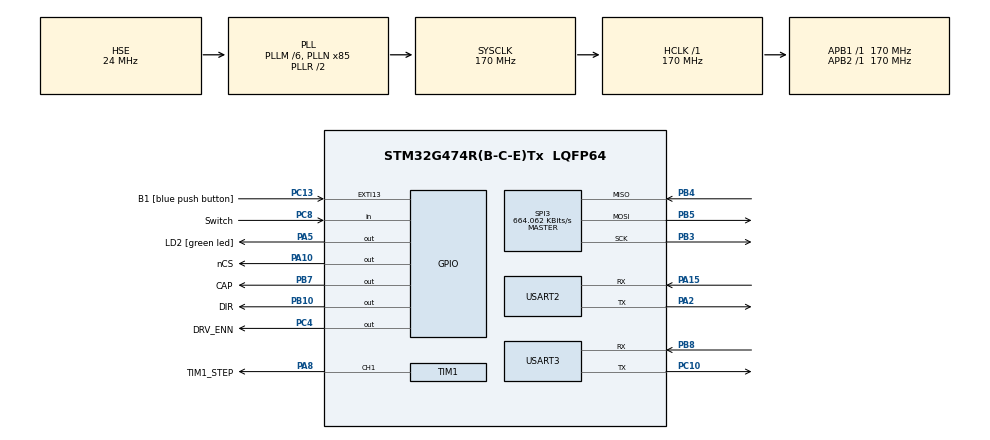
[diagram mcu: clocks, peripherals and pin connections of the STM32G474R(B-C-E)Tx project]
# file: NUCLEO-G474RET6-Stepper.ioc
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Mcu.Family=STM32G4
Mcu.Name=STM32G474R(B-C-E)Tx
Mcu.Package=LQFP64
NVIC.EXTI15_10_IRQn=true\:0\:0\:false\:false\:true\:true\:true\:true
NVIC.PriorityGroup=NVIC_PRIORITYGROUP_4
NVIC.TIM2_IRQn=true\:0\:0\:false\:false\:true\:true\:true\:true
PA10.GPIO_Label=nCS
PA10.Signal=GPIO_Output
PA13.GPIO_Label=T_SWDIO
PA13.Mode=Serial_Wire
PA13.Signal=SYS_JTMS-SWDIO
PA14.GPIO_Label=T_SWCLK
PA14.Mode=Serial_Wire
PA14.Signal=SYS_JTCK-SWCLK
PA15.Mode=Asynchronous
PA15.Signal=USART2_RX
PA2.Mode=Asynchronous
PA2.Signal=USART2_TX
PA5.GPIO_Label=LD2 [green led]
PA5.Signal=GPIO_Output
PA8.GPIO_Label=TIM1_STEP
PA8.Signal=S_TIM1_CH1
PB10.GPIO_Label=DIR
PB10.Signal=GPIO_Output
PB3.GPIO_Speed=GPIO_SPEED_FREQ_VERY_HIGH
PB3.Mode=Full_Duplex_Master
PB3.Signal=SPI3_SCK
PB4.GPIO_Speed=GPIO_SPEED_FREQ_VERY_HIGH
PB4.Mode=Full_Duplex_Master
PB4.Signal=SPI3_MISO
PB5.GPIO_Speed=GPIO_SPEED_FREQ_HIGH
PB5.Mode=Full_Duplex_Master
PB5.Signal=SPI3_MOSI
PB7.GPIO_FM7=SYSCFG_FASTMODEPLUS_PB7
PB7.GPIO_Label=CAP
PB7.GPIO_PuPd=GPIO_PULLDOWN
PB7.Signal=GPIO_Output
PB8-BOOT0.Mode=Asynchronous
PB8-BOOT0.Signal=USART3_RX
PC10.Mode=Asynchronous
PC10.Signal=USART3_TX
PC13.GPIO_Label=B1 [blue push button]
PC13.Signal=GPXTI13
PC14-OSC32_IN.Mode=LSE-External-Oscillator
PC14-OSC32_IN.Signal=RCC_OSC32_IN
PC15-OSC32_OUT.Mode=LSE-External-Oscillator
PC15-OSC32_OUT.Signal=RCC_OSC32_OUT
PC4.GPIO_Label=DRV_ENN
PC4.Signal=GPIO_Output
PC8.GPIO_Label=Switch
PC8.Signal=GPIO_Input
PF0-OSC_IN.Mode=HSE-External-Oscillator
PF0-OSC_IN.Signal=RCC_OSC_IN
PF1-OSC_OUT.Mode=HSE-External-Oscillator
PF1-OSC_OUT.Signal=RCC_OSC_OUT
ProjectManager.HeapSize=0x200
ProjectManager.StackSize=0x400
ProjectManager.TargetToolchain=STM32CubeIDE
RCC.ADC12Freq_Value=170000000
RCC.ADC345Freq_Value=170000000
RCC.AHBFreq_Value=170000000
RCC.APB1Freq_Value=170000000
RCC.APB1TimFreq_Value=170000000
RCC.APB2Freq_Value=170000000
RCC.APB2TimFreq_Value=170000000
RCC.CortexFreq_Value=170000000
RCC.EXTERNAL_CLOCK_VALUE=12288000
RCC.HCLKFreq_Value=170000000
RCC.HSE_VALUE=24000000
RCC.HSI48_VALUE=48000000
RCC.HSI_VALUE=16000000
RCC.PLLM=RCC_PLLM_DIV6
RCC.PLLN=85
RCC.PLLSourceVirtual=RCC_PLLSOURCE_HSE
RCC.RTCClockSelection=RCC_RTCCLKSOURCE_LSE
RCC.SYSCLKFreq_VALUE=170000000
RCC.SYSCLKSource=RCC_SYSCLKSOURCE_PLLCLK
RCC.USBFreq_Value=170000000
RCC.VCOOutputFreq_Value=340000000
SH.S_TIM1_CH1.0=TIM1_CH1,PWM Generation1 CH1
SPI3.BaudRatePrescaler=SPI_BAUDRATEPRESCALER_256
SPI3.CLKPhase=SPI_PHASE_1EDGE
SPI3.CLKPolarity=SPI_POLARITY_LOW
SPI3.CalculateBaudRate=664.062 KBits/s
SPI3.DataSize=SPI_DATASIZE_8BIT
SPI3.Direction=SPI_DIRECTION_2LINES
SPI3.Mode=SPI_MODE_MASTER
SPI3.VirtualType=VM_MASTER
TIM1.Channel-PWM\ Generation1\ CH1=TIM_CHANNEL_1
TIM1.PeriodNoDither=500
TIM1.Prescaler=17000
TIM1.PulseNoDither_1=500
TIM2.PeriodNoDither=20
TIM2.Prescaler=170
USART2.VirtualMode-Asynchronous=VM_ASYNC
USART3.VirtualMode-Asynchronous=VM_ASYNC
VP_SYS_VS_DBSignals.Mode=DisableDeadBatterySignals
VP_TIM2_VS_ClockSourceINT.Mode=Internal
board=NUCLEO-G474RE

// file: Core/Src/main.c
/* USER CODE BEGIN Header */
/**
 ******************************************************************************
 * @file           : main.c
 * @brief          : Main program body
 ******************************************************************************
 * @attention
 *
 * Copyright (c) 2023 STMicroelectronics.
 * All rights reserved.
 *
 * This software is licensed under terms that can be found in the LICENSE file
 * in the root directory of this software component.
 * If no LICENSE file comes with this software, it is provided AS-IS.
 *
 ******************************************************************************
 */
/* USER CODE END Header */
#include "main.h"
#include "spi.h"
#include "tim.h"
#include "usart.h"
#include "gpio.h"

/* USER CODE BEGIN Includes */
#include "tmc2590.h"
#include "stepper.h"

#define ADC_CHANNEL_ADC1_IN10   ADC_CHANNEL_10
/* USER CODE END Includes */

void SystemClock_Config(void);

int main(void)
{

  /* MCU Configuration--------------------------------------------------------*/

  /* Reset of all peripherals, Initializes the Flash interface and the Systick. */
  HAL_Init();

  /* USER CODE BEGIN Init */
  Stepper stepper1;

  /* USER CODE END Init */

  /* Configure the system clock */
  SystemClock_Config();

  /* USER CODE BEGIN SysInit */

  int position_angular_1;
  char message[20];

  /* USER CODE END SysInit */

  /* Initialize all configured peripherals */
  MX_GPIO_Init();
  MX_TIM1_Init();
  MX_SPI3_Init();
  MX_TIM2_Init();
  MX_USART2_UART_Init();
  MX_USART3_UART_Init();
  /* USER CODE BEGIN 2 */

	/*HAL_UART_Transmit(&huart3, (uint8_t *)"*********************\r\n", 23, 100);
	HAL_UART_Transmit(&huart3, (uint8_t *)"* TMC2590 Test Code *\r\n", 23, 100);
	HAL_UART_Transmit(&huart3, (uint8_t *)"*********************\r\n", 23, 100);
	 */

  int order = 20;
  tmc2590_Init(&htmc2590, &hspi3, nCS_GPIO_Port, nCS_Pin, DRV_ENN_GPIO_Port, DRV_ENN_Pin);

  	//HAL_UART_Transmit(&huart3,"debut\r\n", strlen("debut\r\n"), HAL_MAX_DELAY);

  	//fonction d'init

  	stepper_Init(&stepper1);
  	HAL_Delay(1000);
  	stepper1.angularPositionMax = 180;

  /* USER CODE END 2 */

  /* Infinite loop */
  /* USER CODE BEGIN WHILE */

  	while (1)
  	{

  		// Add code to choose nCS

  		//tmc2590_dumpRegister(&htmc2590);  //Report doesn't work - Fail to turn if ON

  		 //code for stepper that advances 90 degrees (works)

  		sendOrderStepper(order,&stepper1);
  		HAL_Delay(1000);
  		stepper1.angularPosition += order;

  		HAL_UART_Transmit(&huart2, (uint8_t *)"test 2\r\n", strlen("test 2\r\n"), HAL_MAX_DELAY);

  		//voir la position

		position_angular_1 = stepper1.angularPosition;
		sprintf(message, "%d \r\n", position_angular_1);
		HAL_UART_Transmit(&huart2, (uint8_t *)message ,strlen(message) , HAL_MAX_DELAY);
		HAL_Delay(1000);

		//tmc_2590_Select(int number_motor);

		/*if(index_sin_loop < 256){
			currentCoilA = sinTable[index_sin_loop];
			currentCoilB = sinTable[256-index_sin_loop];
			polarityCoilA = 0;
			polarityCoilB = 1;
		}
		else if(index_sin_loop < 512){
			currentCoilA = sinTable[512-index_sin_loop];
			currentCoilB = sinTable[index_sin_loop-256];
			polarityCoilA = 0;
			polarityCoilB = 0;
		}
		else if(index_sin_loop < 768){
			currentCoilA = sinTable[index_sin_loop-512];
			currentCoilB = sinTable[768-index_sin_loop];
			polarityCoilA = 1;
			polarityCoilB = 0;
		}
		else{
			currentCoilA = sinTable[1024-index_sin_loop];
			currentCoilB = sinTable[index_sin_loop-768];
			polarityCoilA = 1;
			polarityCoilB = 1;
		}

		drvCtrlCommand = (polarityCoilA << 17) | (currentCoilA << 9) | (polarityCoilB << 8) | (currentCoilB << 0);
		tmc2590_SetTxBufferInt32(&htmc2590, drvCtrlCommand);
		tmc2590_TransmitReceive(&htmc2590, TMC2590_CMD_SIZE); */
		//tmc2590_PrintReport(&htmc2590);

		//		tmc2590_SetTxBuffer(&htmc2590, pData, TMC2590_CMD_SIZE);
		//		tmc2590_TransmitReceive(&htmc2590, TMC2590_CMD_SIZE);
		//		tmc2590_PrintReport(&htmc2590);

		//		tmc2590_dumpRegister(&htmc2590);
		//		0x3FE00;
		//		0x001FF;
		//		0x1FE00;
		//		0x000FF;

		//		tmc2590_SetTxBufferInt32(&htmc2590, 0x3FE00);
		//		tmc2590_TransmitReceive(&htmc2590, TMC2590_CMD_SIZE);
		//		HAL_Delay(1);
		//		tmc2590_SetTxBufferInt32(&htmc2590, 0x001FF);
		//		tmc2590_TransmitReceive(&htmc2590, TMC2590_CMD_SIZE);
		//		HAL_Delay(1);
		//		tmc2590_SetTxBufferInt32(&htmc2590, 0x1FE00);
		//		tmc2590_TransmitReceive(&htmc2590, TMC2590_CMD_SIZE);
		//		HAL_Delay(1);
		//		tmc2590_SetTxBufferInt32(&htmc2590, 0x000FF);
		//		tmc2590_TransmitReceive(&htmc2590, TMC2590_CMD_SIZE);
		//		HAL_Delay(1);

		//		HAL_Delay(100);
    /* USER CODE END WHILE */

	}
}

void SystemClock_Config(void)
{
  RCC_OscInitTypeDef RCC_OscInitStruct = {0};
  RCC_ClkInitTypeDef RCC_ClkInitStruct = {0};

  /** Configure the main internal regulator output voltage
  */
  HAL_PWREx_ControlVoltageScaling(PWR_REGULATOR_VOLTAGE_SCALE1_BOOST);

  /** Initializes the RCC Oscillators according to the specified parameters
  * in the RCC_OscInitTypeDef structure.
  */
  RCC_OscInitStruct.OscillatorType = RCC_OSCILLATORTYPE_HSE;
  RCC_OscInitStruct.HSEState = RCC_HSE_ON;
  RCC_OscInitStruct.PLL.PLLState = RCC_PLL_ON;
  RCC_OscInitStruct.PLL.PLLSource = RCC_PLLSOURCE_HSE;
  RCC_OscInitStruct.PLL.PLLM = RCC_PLLM_DIV6;
  RCC_OscInitStruct.PLL.PLLN = 85;
  RCC_OscInitStruct.PLL.PLLP = RCC_PLLP_DIV2;
  RCC_OscInitStruct.PLL.PLLQ = RCC_PLLQ_DIV2;
  RCC_OscInitStruct.PLL.PLLR = RCC_PLLR_DIV2;
  if (HAL_RCC_OscConfig(&RCC_OscInitStruct) != HAL_OK)
  {
    Error_Handler();
  }

  /** Initializes the CPU, AHB and APB buses clocks
  */
  RCC_ClkInitStruct.ClockType = RCC_CLOCKTYPE_HCLK|RCC_CLOCKTYPE_SYSCLK
                              |RCC_CLOCKTYPE_PCLK1|RCC_CLOCKTYPE_PCLK2;
  RCC_ClkInitStruct.SYSCLKSource = RCC_SYSCLKSOURCE_PLLCLK;
  RCC_ClkInitStruct.AHBCLKDivider = RCC_SYSCLK_DIV1;
  RCC_ClkInitStruct.APB1CLKDivider = RCC_HCLK_DIV1;
  RCC_ClkInitStruct.APB2CLKDivider = RCC_HCLK_DIV1;

  if (HAL_RCC_ClockConfig(&RCC_ClkInitStruct, FLASH_LATENCY_4) != HAL_OK)
  {
    Error_Handler();
  }
}

void Error_Handler(void)
{
	__disable_irq();
	while (1)
	{
	}
}
